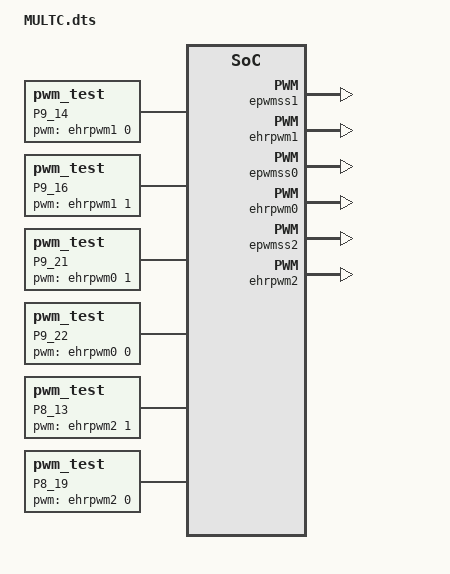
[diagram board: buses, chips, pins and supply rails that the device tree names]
/dts-v1/;
/plugin/;

/{
	compatible= "ti,beaglebone-black";
	part-number="MULTC";
	version="00A0";
	exclusive-use = "P9.14","P9.16","P9.21","P9.22","P8.19","P8.13",
	"ehrpwm2A","ehrpwm2B","ehrpwm1A","ehrpwm1B","ehrpwm0A","ehrpwm0B";
	

	fragment@0{
		target =<&am33xx_pinmux>;

		__overlay__ {

			pwm_P9_14_pins: pinmux_pwm_P9_14_pins {
				pinctrl-single,pins = <0x048 0x06>; 
			};
		
			pwm_P9_16_pins: pinmux_pwm_P9_16_pins {
				pinctrl-single,pins = <0x04C 0x06>;
			};
	
			pwm_P9_21_pins: pinmux_pwm_P9_21_pins {
				pinctrl-single,pins = <0x154 0x03>;
			};

			pwm_P9_22_pins: pinmux_pwm_P9_22_pins {
				pinctrl-single,pins = <0x150 0x03>;
			};
			pwm_P8_13_pins: pinmux_pwm_P8_13_pins {
				pinctrl-single,pins =<0x024 0x04>;
			};
			
			pwm_P8_19_pins:pinmux_pwm_P8_19_pins {
				pinctrl-single,pins =<0x020 0x04>;
			};
		};
	};

	fragment@2 {
		target = <&epwmss1>;
		__overlay__ {
			status = "okay";
		};
	};

	fragment@3 {
		target = <&ehrpwm1>;
		__overlay__ {			
			status = "okay";			
		};
	};

	fragment@4 {
		target = <&epwmss0>;
		__overlay__ {
			status = "okay";
		};
	};

	fragment@5 {
		target = <&ehrpwm0>;
		__overlay__ {			
			status = "okay";			
		};
	};
	
	fragment@6 {
		target = <&epwmss2>;
		__overlay__ {
			status = "okay";
		};
	};
	
	fragment@7 {
		target = <&ehrpwm2>;
		__overlay__{
			status = "okay";
		};
	};
	
	fragment@8 {
		target = <&ocp>;
		__overlay__ {
		
			P9_14 {
				compatible	= "pwm_test";
				pwms 		= <&ehrpwm1 0 10000000 0>;
				pwm-names 	= "PWM_P9_14";
			    pinctrl-names	= "default";
			    pinctrl-0	= <&pwm_P9_14_pins>;
				enabled		= <1>;
				duty		= <0>;
				polarity	= <0>;
				status 		= "okay";
			};
	
			P9_16 {
				compatible	= "pwm_test";
				pwms 		= <&ehrpwm1 1 10000000 0>;
				pwm-names 	= "PWM_P9_16";
			    pinctrl-names	= "default";
			    pinctrl-0	= <&pwm_P9_16_pins>;
				enabled		= <1>;
				duty		= <0>;
				polarity	= <0>;
				status 		= "okay";
			};
		
		
			P9_21 {
				compatible	= "pwm_test";
				pwms 		= <&ehrpwm0 1 10000000 0>;
				pwm-names 	= "PWM_P9_21";
			    pinctrl-names	= "default";
			    pinctrl-0	= <&pwm_P9_21_pins>;
				enabled		= <1>;
				duty		= <0>;
				polarity	= <0>;
				status 		= "okay";
			};
		
			P9_22 {
				compatible	= "pwm_test";
				pwms 		= <&ehrpwm0 0 10000000 0>;
				pwm-names 	= "PWM_P9_22";
			    pinctrl-names	= "default";
			    pinctrl-0	= <&pwm_P9_22_pins>;
				enabled		= <1>;
				duty		= <0>;
				polarity	= <0>;
				status 		= "okay";
			};
			
			P8_13{
				compatible	= "pwm_test";
				pwms		= <&ehrpwm2 1 10000000 0>;
				pwm-names 	="PWM_P8_13";
				pinctrl-names   = "default";
                            	pinctrl-0       = <&pwm_P8_13_pins>;
                                enabled         = <1>;
                                duty            = <0>;
                                polarity        = <0>;
                                status          = "okay";
			};

			 P8_19 {
                                compatible      = "pwm_test";
                                pwms            = <&ehrpwm2 0 10000000 0>;
                                pwm-names       = "PWM_P8_19";
                           	 pinctrl-names  = "default";
                            	pinctrl-0   	= <&pwm_P8_19_pins>;
                                enabled         = <1>;
                                duty            = <0>;
                                polarity        = <0>;
                                status          = "okay";
                        };

		};
	};
};
